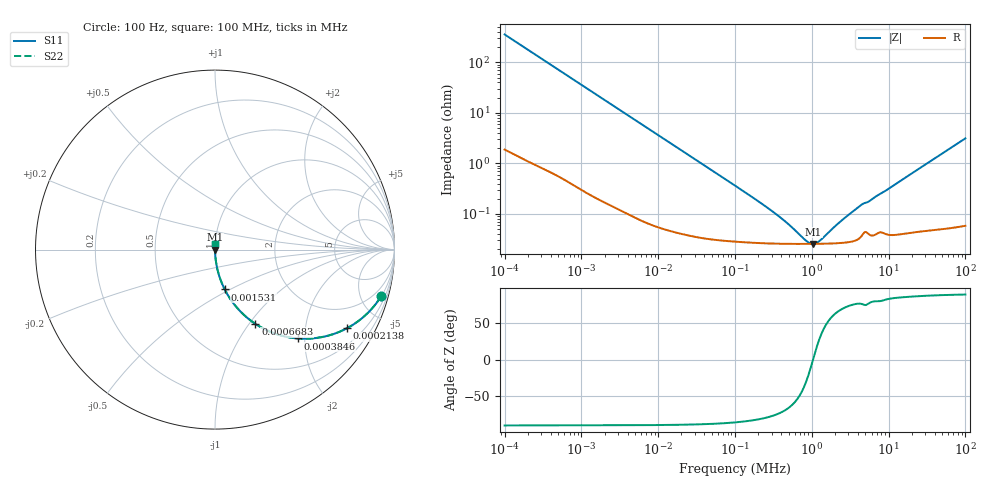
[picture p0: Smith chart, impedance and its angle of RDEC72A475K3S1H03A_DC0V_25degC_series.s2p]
!Murata Part Number: RDEC72A475K3S1H03A
!These Parameters are Measured in Series Mode Connection
!  o--ll--o
!Port1  Port2
!  o------o
!Operation Temp=25[degC], DC Bias Voltage=0[V]
!Freq. Start=100[Hz] Stop=100[MHz], 401[Steps]
!Data Generated on Apr 21, 2023
# Hz S RI R 50
!Freq.(Hz) S11(Real) S11(Imag) S21(Real) S21(Imag) S12(Real) S12(Imag) S22(Real) S22(Imag)
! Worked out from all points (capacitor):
!   401 points, 100 Hz to 100 MHz, reference 50 ohm
!   read as one part in series: C = 4.48 uF near 107.2 Hz
!   lowest |Z| = 25.7 mohm at 1.047 MHz (marker M1)
!   series resonance near 1.037 MHz, so ESL is about 5.3 nH
!   S11 on the Smith chart (normalised r, x): 100 Hz: 1.04, -7.10; 213.8 Hz: 1.02, -3.33; 384.6 Hz: 1.01, -1.86; 668.3 Hz: 1.01, -1.07; 1.531 kHz: 1.00, -0.47; 100 MHz: 1.00, +0.06
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100  0.9254 -0.2602  0.0746 0.2602  0.0746 0.2602  0.9254 -0.2602
146.2177  0.854 -0.3503  0.146 0.3503  0.146 0.3503  0.854 -0.3503
213.7962  0.7338 -0.4388  0.2662 0.4388  0.2662 0.4388  0.7338 -0.4388
291.7427  0.5984 -0.4868  0.4016 0.4868  0.4016 0.4868  0.5984 -0.4868
384.5918  0.4632 -0.495  0.5368 0.495  0.5368 0.495  0.4632 -0.495
668.3439  0.2249 -0.4135  0.7751 0.4135  0.7751 0.4135  0.2249 -0.4135
1011.579  0.1138 -0.3134  0.8862 0.3134  0.8862 0.3134  0.1138 -0.3134
1531.087  0.054 -0.2217  0.946 0.2217  0.946 0.2217  0.054 -0.2217
3507.519  0.0116 -0.1017  0.9884 0.1017  0.9884 0.1017  0.0116 -0.1017
10232.93  0.00179 -0.0354  0.9982 0.0354  0.9982 0.0354  0.00179 -0.0354
100000  0.000298 -0.00364  0.9997 0.00364  0.9997 0.00364  0.000298 -0.00364
323593.7  0.000261 -0.00103  0.9997 0.00103  0.9997 0.00103  0.000261 -0.00103
489778.8  0.000258 -0.000587  0.9997 0.000587  0.9997 0.000587  0.000258 -0.000587
822242.6  0.000256 -0.000167  0.9997 0.000167  0.9997 0.000167  0.000256 -0.000167
1011579  0.000257 -1.76e-05  0.9997 1.76e-05  0.9997 1.76e-05  0.000257 -1.76e-05
1047129  0.000257 7.12e-06  0.9997 -7.12e-06  0.9997 -7.12e-06  0.000257 7.12e-06
1288250  0.000258 0.000157  0.9997 -0.000157  0.9997 -0.000157  0.000258 0.000157
2317395  0.000267 0.000642  0.9997 -0.000642  0.9997 -0.000642  0.000267 0.000642
4315191  0.000351 0.00144  0.9996 -0.00144  0.9996 -0.00144  0.000351 0.00144
5495409  0.000403 0.00172  0.9996 -0.00172  0.9996 -0.00172  0.000403 0.00172
1.023293e7  0.000396 0.00322  0.9996 -0.00322  0.9996 -0.00322  0.000396 0.00322
1e8  0.00157 0.0313  0.9984 -0.0313  0.9984 -0.0313  0.00157 0.0313
